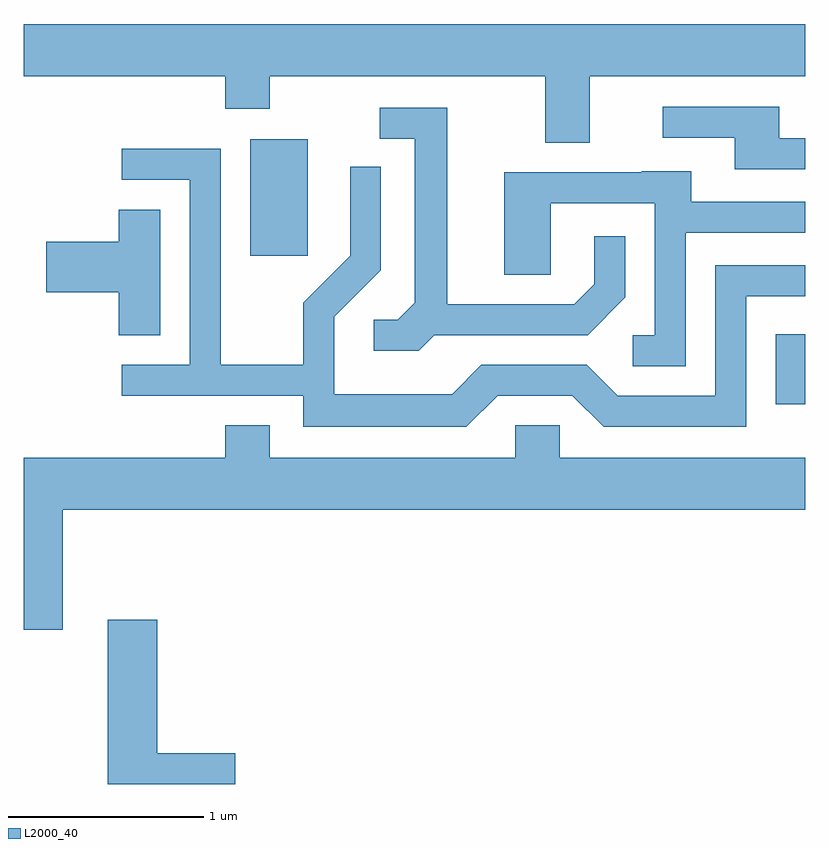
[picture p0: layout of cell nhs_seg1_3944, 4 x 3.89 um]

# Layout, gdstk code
import gdstk
lib = gdstk.Library(unit=1e-6, precision=1e-09)
def R(c, l, rs):  # rectangles x0, y0, x1, y1
    for r in rs: c.add(gdstk.rectangle(r[:2], r[2:], *l))
def P(c, l, *ps):  # polygons
    for p in ps: c.add(gdstk.Polygon(p, *l))
L2000_40 = (2000, 40)

nhs_seg1_3944 = lib.new_cell('nhs_seg1_3944')
R(nhs_seg1_3944, L2000_40, [(307.461,915.658,307.611,916.014), (304.771,916.416,305.064,917.014)])
P(nhs_seg1_3944, L2000_40, [(306.509,917.336),(307.611,917.336),(307.611,917.604),(303.611,917.604),(303.611,917.336),(304.641,917.336),(304.641,917.171),(304.869,917.171),(304.869,917.336),(306.281,917.336),(306.281,916.996),(306.509,916.996)],
  [(307.611,917.019),(307.479,917.019),(307.479,917.179),(306.883,917.179),(306.883,917.021),(307.251,917.021),(307.251,916.861),(307.611,916.861)],
  [(305.712,916.011),(306.497,916.011),(306.689,916.204),(306.689,916.518),(306.531,916.518),(306.531,916.272),(306.429,916.169),(305.779,916.169),(305.779,917.174),(305.433,917.174),(305.433,917.016),(305.611,917.016),(305.611,916.177),(305.524,916.089),(305.403,916.089),(305.403,915.931),(305.632,915.931)],
  [(306.037,915.701),(306.419,915.701),(306.579,915.541),(307.309,915.541),(307.309,916.211),(307.611,916.211),(307.611,916.369),(307.151,916.369),(307.151,915.699),(306.652,915.699),(306.492,915.859),(305.954,915.859),(305.804,915.709),(305.199,915.709),(305.199,916.104),(305.439,916.344),(305.439,916.873),(305.281,916.873),(305.281,916.417),(305.041,916.177),(305.041,915.859),(304.619,915.859),(304.619,916.964),(304.113,916.964),(304.113,916.806),(304.461,916.806),(304.461,915.859),(304.113,915.859),(304.113,915.701),(305.041,915.701),(305.041,915.541),(305.877,915.541)],
  [(306.999,916.536),(307.611,916.536),(307.611,916.694),(307.029,916.694),(307.029,916.849),(306.775,916.849),(306.775,916.844),(306.071,916.844),(306.071,916.321),(306.309,916.321),(306.309,916.686),(306.841,916.686),(306.841,916.009),(306.728,916.009),(306.728,915.851),(306.999,915.851)],
  [(304.309,916.654),(304.096,916.654),(304.096,916.489),(303.726,916.489),(303.726,916.231),(304.096,916.231),(304.096,916.011),(304.309,916.011)],
  [(303.809,915.116),(307.611,915.116),(307.611,915.384),(306.354,915.384),(306.354,915.549),(306.126,915.549),(306.126,915.384),(304.869,915.384),(304.869,915.549),(304.641,915.549),(304.641,915.384),(303.611,915.384),(303.611,914.501),(303.809,914.501)],
  [(304.694,913.869),(304.294,913.869),(304.294,914.554),(304.041,914.554),(304.041,913.712),(304.694,913.712)])

lib.write_gds('nhs_seg1_3944.gds')
